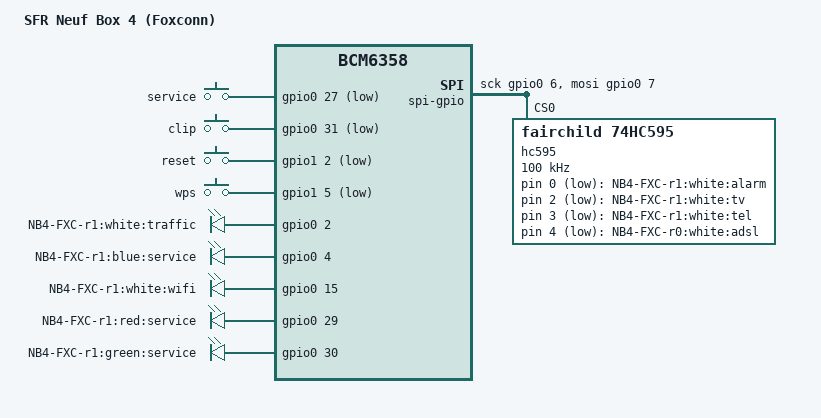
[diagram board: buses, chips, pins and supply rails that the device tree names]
/dts-v1/;

#include "bcm6358.dtsi"

#include <dt-bindings/input/input.h>

/ {
	model = "SFR Neuf Box 4 (Foxconn)";
	compatible = "sfr,nb4-fxc-r1", "brcm,bcm6358";

	spi-gpio {
		#address-cells = <1>;
		#size-cells = <1>;
		compatible = "spi-gpio";

		gpio-mosi = <&gpio0 7 0>;
		gpio-sck = <&gpio0 6 0>;
		num-chipselects = <0>;

		hc595: gpio-spi-controller@0 {
			compatible = "fairchild,74hc595";
			reg = <0>;
			registers-number = <1>;
			spi-max-frequency = <100000>;

			gpio-controller;
			#gpio-cells = <2>;
		};
	};

	gpio-keys-polled {
		compatible = "gpio-keys-polled";
		#address-cells = <1>;
		#size-cells = <0>;
		poll-interval = <20>;
		debounce-interval = <60>;

		service {
			label = "service";
			gpios = <&gpio0 27 1>;
			linux,code = <BTN_0>;
		};
		clip {
			label = "clip";
			gpios = <&gpio0 31 1>;
			linux,code = <BTN_1>;
		};
		reset {
			label = "reset";
			gpios = <&gpio1 2 1>;
			linux,code = <KEY_RESTART>;
		};
		wps {
			label = "wps";
			gpios = <&gpio1 5 1>;
			linux,code = <KEY_WPS_BUTTON>;
		};
	};

	gpio-leds {
		compatible = "gpio-leds";

		traffic_white {
			label = "NB4-FXC-r1:white:traffic";
			gpios = <&gpio0 2 0>;
		};
		service_blue {
			label = "NB4-FXC-r1:blue:service";
			gpios = <&gpio0 4 0>;
		};
		wifi_white {
			label = "NB4-FXC-r1:white:wifi";
			gpios = <&gpio0 15 0>;
		};
		service_red {
			label = "NB4-FXC-r1:red:service";
			gpios = <&gpio0 29 0>;
		};
		service_green {
			label = "NB4-FXC-r1:green:service";
			gpios = <&gpio0 30 0>;
		};
		alarm_white {
			label = "NB4-FXC-r1:white:alarm";
			gpios = <&hc595 0 1>;
		};
		tv_white {
			label = "NB4-FXC-r1:white:tv";
			gpios = <&hc595 2 1>;
		};
		tel_white {
			label = "NB4-FXC-r1:white:tel";
			gpios = <&hc595 3 1>;
		};
		adsl_white {
			label = "NB4-FXC-r0:white:adsl";
			gpios = <&hc595 4 1>;
		};
	};
};
